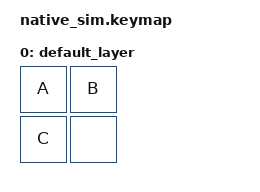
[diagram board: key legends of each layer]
#include <behaviors.dtsi>
#include <dt-bindings/zmk/keys.h>
#include <dt-bindings/zmk/kscan_mock.h>

/ {
    keymap {
        compatible = "zmk,keymap";

        default_layer {
            bindings = <
                &kp A &kp B
                &kp C &none
            >;
        };
    };
};

&kscan {
    /delete-property/ exit-after;
    events = <
        ZMK_MOCK_PRESS(0,0,60)
        ZMK_MOCK_PRESS(0,1,80)
        ZMK_MOCK_RELEASE(0,0,30)
        ZMK_MOCK_RELEASE(0,1,120)
        ZMK_MOCK_PRESS(1,0,50)
        ZMK_MOCK_RELEASE(1,0,10)
    >;
};
